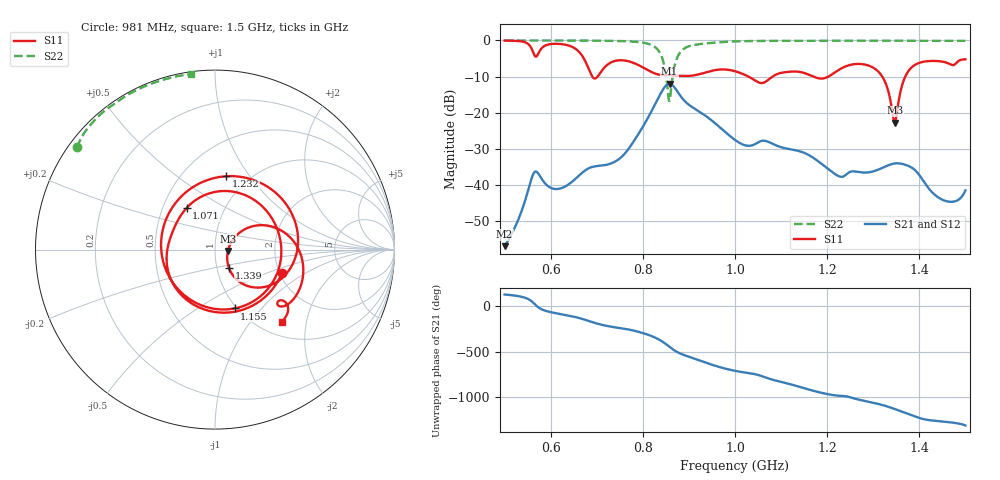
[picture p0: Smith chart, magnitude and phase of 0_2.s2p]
! TOUCHSTONE file generated by CST MICROWAVE STUDIO
! Date and time: Sat Oct 24 10:41:31 2020
! Project name: Scenario_1_Planar_Body_Tissue_Center.cst
! Parameters = {hfat=3; hmuscle=50; hskin=1.5; hgap=25; Wtissue=700; Ltissue=700; L_HA=400; MT=2.54; Rad_Dielectric=30; Rad_Lower=7.3; Rad_Upper=30; a_HA=580; a_WG=246; b_HA=500; b_WG=121; c_HA=0; c_WG=187; d_feed=85; dx1=190.32; h_feed=15; h_lower=18; h_upper=40}
! Header version: 2018
! Port assignment regex: !\s*Touchstone port\s*([0-9]+)\s*=\s*(CST MWS port|CST DS port)\s*([0-9]+|Zmin|Zmax)\s*\(\"(.*)\"\)(\s*mode\s*([0-9]+))?.*
! Touchstone port assignment:
! Touchstone port 1 = CST MWS port 1 ("")
! Touchstone port 2 = CST MWS port 2 ("")
# GHz S DB R 50
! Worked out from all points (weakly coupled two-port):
!   1003 points, 500 MHz to 1.5 GHz, reference 50 ohm
!   highest |S21| = -12.03 dB at 858 MHz (marker M1); lowest = -57.0 dB at 500 MHz (marker M2)
!   lowest |S11| = -22.8 dB at 1.347 GHz (marker M3), VSWR 1.16, Z = 57.7 - j0.95 ohm
!   |S11| at or under -10 dB: 1.029 GHz to 1.082 GHz (52.87 MHz wide, 5.01 % of centre); 1.169 GHz to 1.203 GHz (33.47 MHz wide, 2.82 % of centre); 1.319 GHz to 1.37 GHz (50.15 MHz wide, 3.73 % of centre) (the widest 3 of 4)
!   |S22| runs from -16.8 to 0.0 dB; largest |S21 - S12| = 4.2e-06
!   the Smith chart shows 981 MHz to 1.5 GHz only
!   S11 on the Smith chart (normalised r, x): 981 MHz: 2.05, -0.64; 1.071 GHz: 0.66, +0.33; 1.155 GHz: 0.98, -0.73; 1.232 GHz: 0.79, +0.78; 1.339 GHz: 1.14, -0.24; 1.5 GHz: 1.26, -1.44
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0.5  -0.04 -121.9  -57.03 128.2  -57.03 128.2  -0.01 151.1
0.565  -4.16 -158.9  -36.48 24.4  -36.48 24.4  -0.02 146.7
0.621  -0.99 174.1  -41.03 -86.4  -41.03 -86.4  -0.02 142.5
0.667  -4.01 94.2  -36.83 -137.9  -36.83 -137.9  -0.04 138.4
0.707  -9.10 -95.8  -34.75 159.6  -34.75 159.6  -0.07 134.0
0.74  -5.67 177.2  -33.56 126.3  -33.56 126.3  -0.13 129.3
0.779  -6.19 104.2  -28.20 92.2  -28.20 92.2  -0.33 120.8
0.834  -9.46 -23.1  -15.84 -4.8  -15.84 -4.8  -2.85 82.8
0.858  -9.58 -97.9  -12.03 -88.5  -12.03 -88.5  -16.78 -56.6
0.889  -9.84 173.9  -16.56 -177.8  -16.56 -177.8  -2.30 175.4
0.934  -8.96 75.1  -20.70 102.0  -20.70 102.0  -0.86 152.4
0.981  -8.08 -19.5  -25.64 29.2  -25.64 29.2  -0.40 143.4
1  -8.54 -58.4  -27.58 7.5  -27.58 7.5  -0.27 140.6
1.071  -11.04 124.4  -28.04 -73.8  -28.04 -73.8  -0.13 132.4
1.155  -9.23 -71.6  -31.44 169.2  -31.44 169.2  -0.11 125.1
1.167  -9.87 -101.7  -32.30 151.8  -32.30 151.8  -0.11 124.2
1.232  -7.68 81.5  -37.80 90.8  -37.80 90.8  -0.08 119.3
1.334  -14.74 -55.0  -34.54 -31.0  -34.54 -31.0  -0.09 111.5
1.339  -17.85 -52.6  -34.32 -39.6  -34.32 -39.6  -0.09 111.2
1.347  -22.82 -6.5  -34.10 -54.0  -34.10 -54.0  -0.09 110.5
1.385  -7.28 7.6  -35.38 -124.9  -35.38 -124.9  -0.09 107.6
1.5  -5.25 -47.1  -41.56 125.4  -41.56 125.4  -0.12 97.9
